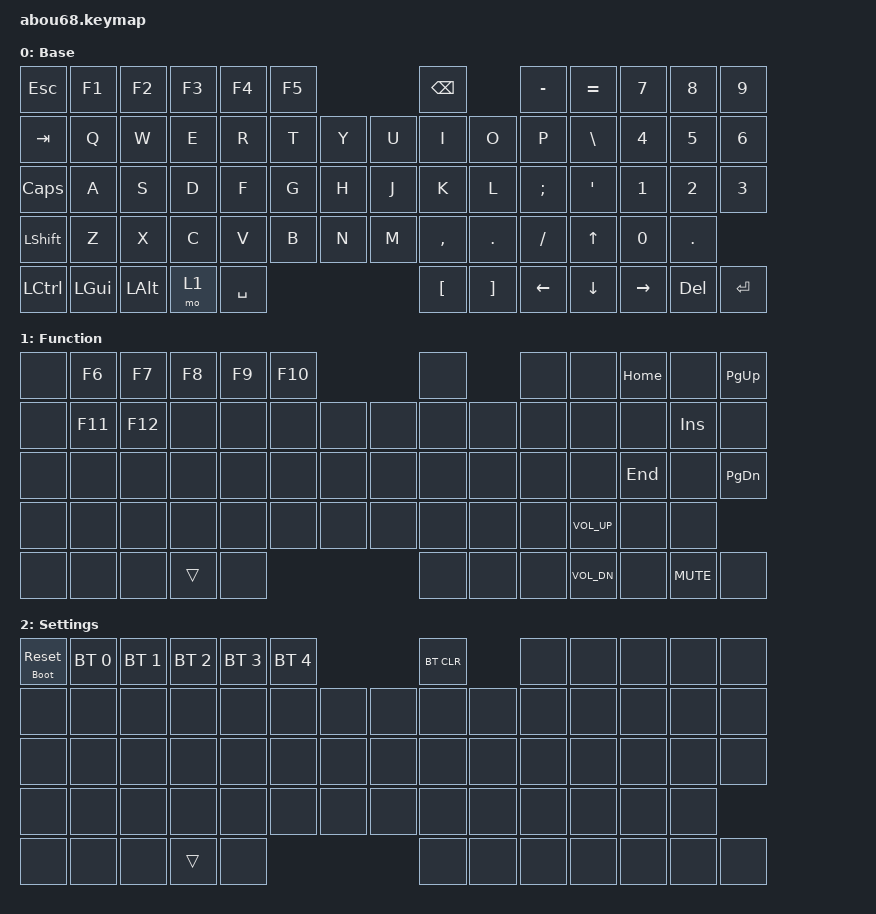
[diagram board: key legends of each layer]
#include <behaviors.dtsi>
#include <dt-bindings/zmk/bt.h>
#include <dt-bindings/zmk/keys.h>

/ {
    combos {
        compatible = "zmk,combos";

        SettingsLayer {
            bindings = <&tog 2>;
            key-positions = <59 0>;
        };
    };

    behaviors {
        resetboot: resetboot {
            compatible = "zmk,behavior-hold-tap";
            label = "RESETBOOT";
            bindings = <&bootloader>, <&sys_reset>;

            #binding-cells = <2>;
            tapping-term-ms = <200>;
            flavor = "tap-preferred";
        };
    };

    keymap {
        compatible = "zmk,keymap";

        Base {
            bindings = <
&kp ESC    &kp F1    &kp F2    &kp F3  &kp F4     &kp F5                &kp BSPC             &kp MINUS  &kp EQUAL  &kp N7     &kp N8   &kp N9
&kp TAB    &kp Q     &kp W     &kp E   &kp R      &kp T   &kp Y  &kp U  &kp I      &kp O     &kp P      &kp BSLH   &kp N4     &kp N5   &kp N6
&kp CAPS   &kp A     &kp S     &kp D   &kp F      &kp G   &kp H  &kp J  &kp K      &kp L     &kp SEMI   &kp SQT    &kp N1     &kp N2   &kp N3
&kp LSHFT  &kp Z     &kp X     &kp C   &kp V      &kp B   &kp N  &kp M  &kp COMMA  &kp DOT   &kp FSLH   &kp UP     &kp N0     &kp DOT
&kp LCTRL  &kp LGUI  &kp LALT  &mo 1   &kp SPACE                        &kp LBKT   &kp RBKT  &kp LEFT   &kp DOWN   &kp RIGHT  &kp DEL  &kp RET
            >;
        };

        Function {
            bindings = <
&none  &kp F6   &kp F7   &kp F8  &kp F9  &kp F10                &none         &none  &none         &kp HOME  &none       &kp PG_UP
&none  &kp F11  &kp F12  &none   &none   &none    &none  &none  &none  &none  &none  &none         &none     &kp INSERT  &none
&none  &none    &none    &none   &none   &none    &none  &none  &none  &none  &none  &none         &kp END   &none       &kp PG_DN
&none  &none    &none    &none   &none   &none    &none  &none  &none  &none  &none  &kp C_VOL_UP  &none     &none
&none  &none    &none    &trans  &none                          &none  &none  &none  &kp C_VOL_DN  &none     &kp C_MUTE  &none
            >;
        };

        Settings {
            bindings = <
&resetboot 0 0  &bt BT_SEL 0  &bt BT_SEL 1  &bt BT_SEL 2  &bt BT_SEL 3  &bt BT_SEL 4                &bt BT_CLR         &none  &none  &none  &none  &none
&none           &none         &none         &none         &none         &none         &none  &none  &none       &none  &none  &none  &none  &none  &none
&none           &none         &none         &none         &none         &none         &none  &none  &none       &none  &none  &none  &none  &none  &none
&none           &none         &none         &none         &none         &none         &none  &none  &none       &none  &none  &none  &none  &none
&none           &none         &none         &trans        &none                                     &none       &none  &none  &none  &none  &none  &none
            >;
        };
    };
};
